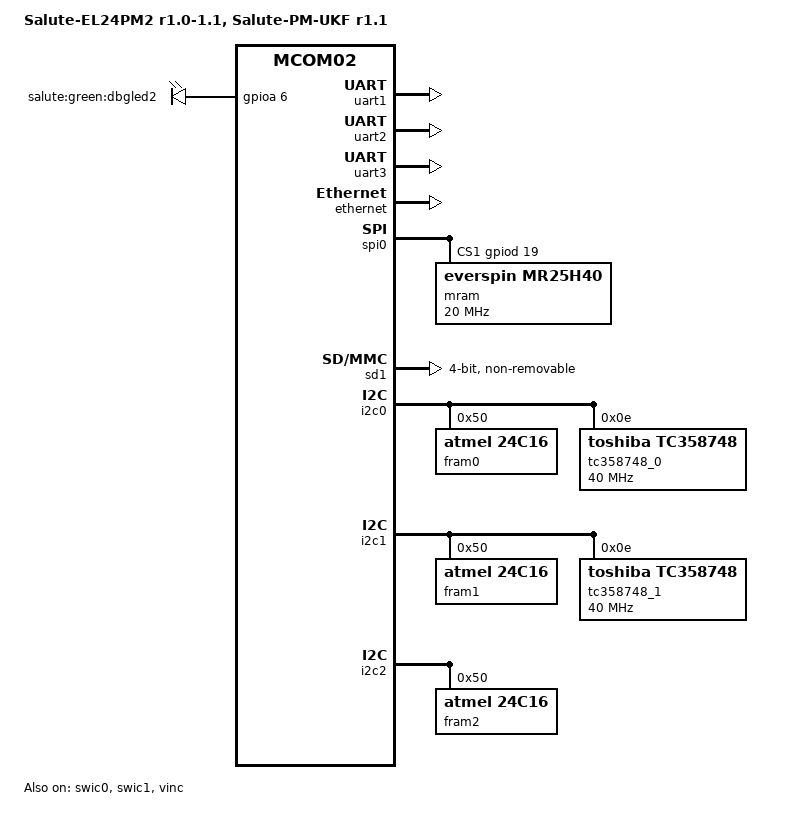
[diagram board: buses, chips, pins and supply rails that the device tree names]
// SPDX-License-Identifier: GPL-2.0+
/*
 * Copyright 2020 RnD Center "ELVEES", JSC
 */

/dts-v1/;

#include "mcom02-salute-el24pm2-r1.0-1.1.dtsi"

/ {
	model = "Salute-EL24PM2 r1.0-1.1, Salute-PM-UKF r1.1";
	compatible = "elvees,salute-el24pm2-r1.1-pm-ukf-r1.1",
		     "elvees,salute-el24pm2-r1.0-pm-ukf-r1.1",
		     "elvees,salute-el24pm2-pm-ukf",
		     "elvees,salute-pm-ukf-r1.1",
		     "elvees,salute-pm-ukf",
		     "elvees,salute-el24pm2-r1.1",
		     "elvees,salute-el24pm2-r1.0",
		     "elvees,salute-el24pm2",
		     "elvees,mcom02";

	leds {
		dbgled2 {
			label = "salute:green:dbgled2";
			gpios = <&gpioa 6 GPIO_ACTIVE_HIGH>;
			linux,default-trigger = "heartbeat";
		};
	};

	aliases {
		spi0 = &spi0;
	};

};

&dpllclk {
	clk-mult-initial = <29>;
};

&upllclk {
	clk-mult-initial = <16>;
};

&uart1 {
	status = "okay";
};

&uart2 {
	status = "okay";
};

&uart3 {
	status = "okay";
};

&ethernet {
	status = "okay";
};

&spi0 {
	num-cs = <2>;
	/* Third argument of "cs-gpios" property is set to 0,
	* because it is ignored by the SPI driver. */
	cs-gpios = <&gpiod 18 0>, <&gpiod 19 0>;

	mram: mram@1 {
		#address-cells = <1>;
		compatible = "everspin,mr25h40", "spi-flash";
		reg = <0x1>;
		spi-max-frequency = <20000000>;
	};
};

&sd1 {
	status = "okay";
	non-removable;
	bus-width = <4>;
};

&swic0 {
	status = "okay";
};

&swic1 {
	status = "okay";
};

&vinc {
	status = "okay";
	ports {
		port@0 {
			#address-cells = <1>;
			#size-cells = <0>;
			vinc_endpoint0: endpoint@0 {
				reg = <0>;
				remote-endpoint = <&tc358748_0endpoint>;
				elvees,ifacenum = /bits/ 8 <2>;
			};

			vinc_endpoint1: endpoint@1 {
				reg = <1>;
				remote-endpoint = <&tc358748_1endpoint>;
				elvees,ifacenum = /bits/ 8 <3>;
			};
		};
	};
};

&sound {
	status = "okay";
};

&i2c0 {
	fram0: fram0@50 {
		#address-cells = <1>;
		#size-cells = <1>;
		compatible = "atmel,24c16", "i2c-eeprom";
		reg = <0x50>;
	};

	tc358748_0@0e {
		compatible = "toshiba,tc358748";
		reg = <0x0e>;
		clock-frequency = <40000000>;
		pixel-frequency = <126000000>;
		vvalid-invert;
		port {
			tc358748_0endpoint: endpoint {
				remote = <&vinc_endpoint0>;
			};
		};
	};
};

&i2c1 {
	fram1: fram1@50 {
		#address-cells = <1>;
		#size-cells = <1>;
		compatible = "atmel,24c16", "i2c-eeprom";
		reg = <0x50>;
	};

	tc358748_1@0e {
		compatible = "toshiba,tc358748";
		reg = <0x0e>;
		clock-frequency = <40000000>;
		pixel-frequency = <126000000>;
		vvalid-invert;
		port {
			tc358748_1endpoint: endpoint {
				remote = <&vinc_endpoint1>;
			};
		};
	};
};

&i2c2 {
	fram2: fram2@50 {
		#address-cells = <1>;
		#size-cells = <1>;
		compatible = "atmel,24c16", "i2c-eeprom";
		reg = <0x50>;
	};
};

&framebuffer {
	status = "okay";
};
